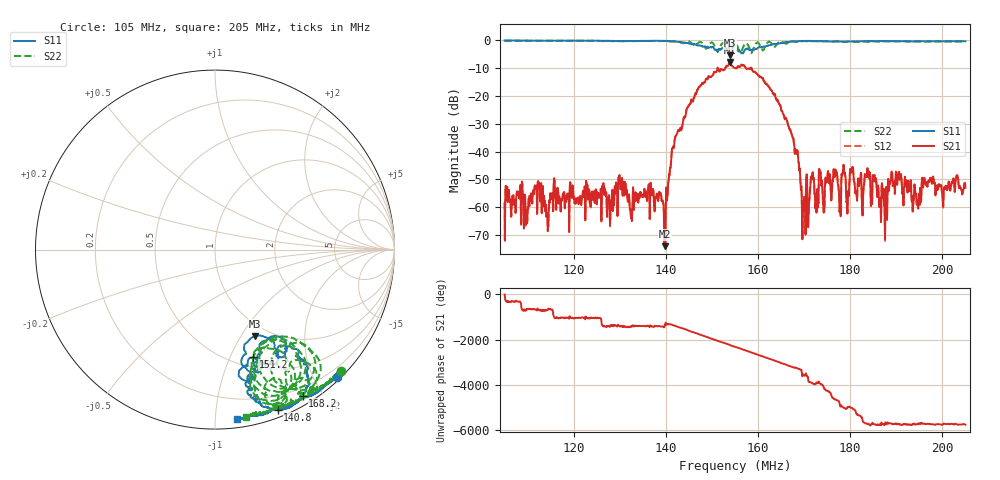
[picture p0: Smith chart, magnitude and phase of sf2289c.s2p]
# Hz S RI R 50
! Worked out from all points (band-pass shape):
!   1601 points, 105 MHz to 205 MHz, reference 50 ohm
!   highest |S21| = -8.02 dB at 153.8 MHz (marker M1); lowest = -74.0 dB at 139.9 MHz (marker M2)
!   |S21| within 3 dB of the highest: 151.0503 MHz to 151.5291 MHz (478.9 kHz wide, 0.317 % of centre); 151.7 MHz to 158.8 MHz (7.086 MHz wide, 4.56 % of centre)
!   lowest |S11| = -5.5 dB at 153.8 MHz (marker M3), VSWR 3.25, Z = 43 - j57.3 ohm
!   |S11| at or under -10 dB: nowhere
!   |S22| runs from -4.7 to -0.2 dB; largest |S21 - S12| = 0.0026
!   S11 on the Smith chart (normalised r, x): 105 MHz: 0.07, -2.34; 140.8 MHz: 0.07, -1.46; 151.2 MHz: 0.61, -1.23; 168.2 MHz: 0.10, -1.76; 205 MHz: 0.06, -1.14
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1.05e8  0.6783 -0.7072  0.00118 -0.000136  0.00118 -0.000146  0.704 -0.6753
1.216875e8  0.5696 -0.7948  0.000616 0.001  0.000605 0.00102  0.6064 -0.7545
1.38375e8  0.4088 -0.8804  0.000995 0.000871  0.000997 0.00085  0.4724 -0.8361
1.39875e8  0.3684 -0.8895  2.45e-05 0.000199  3.14e-05 0.0002  0.4486 -0.8482
1.4075e8  0.3498 -0.8923  -0.00134 0.00341  -0.00134 0.00342  0.4255 -0.8408
1.45e8  0.2269 -0.8324  -0.0677 -0.0122  -0.0677 -0.0118  0.357 -0.869
1.49125e8  0.1799 -0.7122  -0.0419 -0.206  -0.0417 -0.2058  0.3778 -0.6573
1.5125e8  0.2142 -0.5984  -0.0753 0.31  -0.0742 0.311  0.2707 -0.5439
1.538125e8  0.2208 -0.4807  0.0998 -0.3844  0.1006 -0.3854  0.2966 -0.5057
1.55e8  0.2997 -0.6437  -0.2964 -0.1026  -0.2963 -0.1011  0.3838 -0.7881
1.565e8  0.2852 -0.5061  -0.032 0.3555  -0.0325 0.3559  0.4101 -0.5097
1.576875e8  0.3709 -0.6009  0.2978 0.0633  0.299 0.0633  0.3502 -0.7698
1.601875e8  0.458 -0.583  -0.222 -0.0423  -0.222 -0.0415  0.3975 -0.7718
1.681875e8  0.4886 -0.8158  0.0105 -0.00162  0.0106 -0.0016  0.4673 -0.8043
1.698125e8  0.4566 -0.8486  0.000819 0.000295  0.000823 0.000322  0.472 -0.8326
1.716875e8  0.4128 -0.8609  0.00271 0.002  0.0027 0.002  0.4312 -0.8512
1.72625e8  0.397 -0.874  0.00104 0.000249  0.00106 0.000256  0.4226 -0.8564
1.766875e8  0.3479 -0.8766  0.00271 0.00268  0.00269 0.00268  0.3768 -0.8657
1.776875e8  0.3405 -0.8789  -0.000651 -0.000491  -0.000663 -0.000503  0.3572 -0.8807
1.803125e8  0.3274 -0.8872  0.00422 0.00114  0.00422 0.00114  0.3419 -0.8872
1.88375e8  0.252 -0.9215  0.00139 0.00137  0.00139 0.00138  0.2923 -0.9009
2.05e8  0.1224 -0.9443  0.00219 -0.000402  0.00219 -0.000424  0.1742 -0.9302
